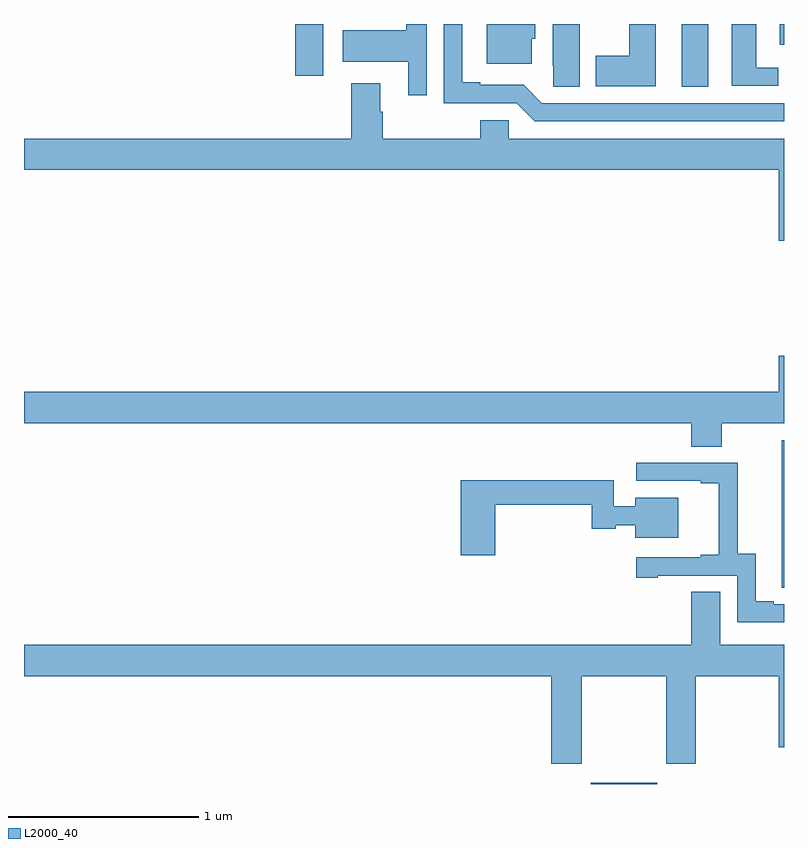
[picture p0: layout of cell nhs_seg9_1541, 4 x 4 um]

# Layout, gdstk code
import gdstk
lib = gdstk.Library(unit=1e-6, precision=1e-09)
def R(c, l, rs):  # rectangles x0, y0, x1, y1
    for r in rs: c.add(gdstk.rectangle(r[:2], r[2:], *l))
def P(c, l, *ps):  # polygons
    for p in ps: c.add(gdstk.Polygon(p, *l))
L2000_40 = (2000, 40)

nhs_seg9_1541 = lib.new_cell('nhs_seg9_1541')
R(nhs_seg9_1541, L2000_40, [(199.982,1214.5,200.332,1214.506), (200.462,1218.169,200.602,1218.5), (198.428,1218.228,198.574,1218.5), (200.978,1218.392,201,1218.5)])
P(nhs_seg9_1541, L2000_40, [(199.119,1218.5),(199.011,1218.5),(199.011,1218.468),(198.678,1218.468),(198.678,1218.302),(199.022,1218.302),(199.022,1218.126),(199.119,1218.126)],
  [(200.971,1218.27),(200.854,1218.27),(200.854,1218.5),(200.726,1218.5),(200.726,1218.174),(200.971,1218.174)],
  [(200.326,1218.5),(200.186,1218.5),(200.186,1218.333),(200.009,1218.333),(200.009,1218.173),(200.326,1218.173)],
  [(201,1218.084),(199.725,1218.084),(199.629,1218.18),(199.402,1218.18),(199.402,1218.193),(199.306,1218.193),(199.306,1218.5),(199.209,1218.5),(199.209,1218.084),(199.593,1218.084),(199.689,1217.988),(201,1217.988)],
  [(199.924,1218.5),(199.784,1218.5),(199.784,1218.28),(199.785,1218.28),(199.785,1218.169),(199.924,1218.169)],
  [(199.672,1218.423),(199.69,1218.423),(199.69,1218.5),(199.436,1218.5),(199.436,1218.29),(199.672,1218.29)],
  [(201,1217.896),(199.551,1217.896),(199.551,1217.994),(199.4,1217.994),(199.4,1217.896),(198.887,1217.896),(198.887,1218.038),(198.874,1218.038),(198.874,1218.187),(198.722,1218.187),(198.722,1217.896),(197,1217.896),(197,1217.732),(200.972,1217.732),(200.972,1217.358),(201,1217.358)],
  [(197,1216.4),(200.513,1216.4),(200.513,1216.276),(200.673,1216.276),(200.673,1216.4),(201,1216.4),(201,1216.753),(200.972,1216.753),(200.972,1216.564),(197,1216.564)],
  [(201,1216.308),(200.987,1216.308),(200.987,1215.64),(200.988,1215.64),(200.988,1215.532),(201,1215.532)],
  [(201,1215.447),(200.947,1215.447),(200.947,1215.462),(200.851,1215.462),(200.851,1215.713),(200.757,1215.713),(200.757,1216.191),(200.223,1216.191),(200.223,1216.095),(200.561,1216.095),(200.561,1216.083),(200.657,1216.083),(200.657,1215.706),(200.561,1215.706),(200.561,1215.693),(200.223,1215.693),(200.223,1215.585),(200.335,1215.585),(200.335,1215.597),(200.754,1215.597),(200.754,1215.351),(201,1215.351)],
  [(199.481,1215.97),(199.987,1215.97),(199.987,1215.844),(200.115,1215.844),(200.115,1215.863),(200.216,1215.863),(200.216,1215.797),(200.443,1215.797),(200.443,1216.006),(200.216,1216.006),(200.216,1215.961),(200.103,1215.961),(200.103,1216.099),(199.298,1216.099),(199.298,1215.705),(199.481,1215.705)],
  [(199.935,1215.068),(200.38,1215.068),(200.38,1214.607),(200.535,1214.607),(200.535,1215.068),(200.972,1215.068),(200.972,1214.694),(201,1214.694),(201,1215.232),(200.665,1215.232),(200.665,1215.512),(200.513,1215.512),(200.513,1215.232),(197,1215.232),(197,1215.068),(199.775,1215.068),(199.775,1214.607),(199.935,1214.607)])

lib.write_gds('nhs_seg9_1541.gds')
